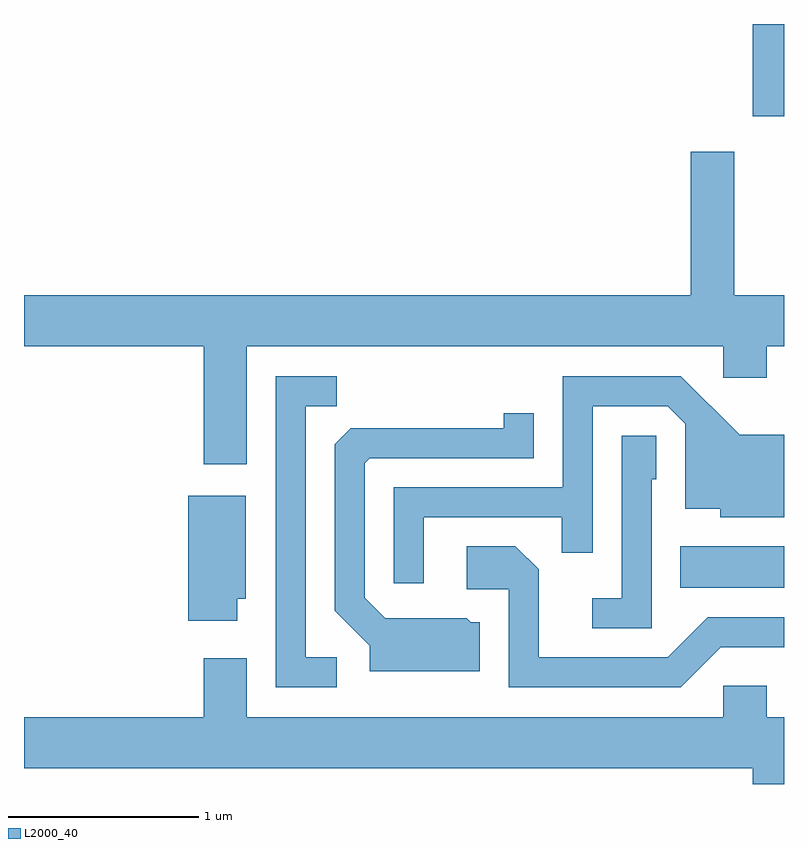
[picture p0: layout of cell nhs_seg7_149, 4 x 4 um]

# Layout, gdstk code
import gdstk
lib = gdstk.Library(unit=1e-6, precision=1e-09)
def R(c, l, rs):  # rectangles x0, y0, x1, y1
    for r in rs: c.add(gdstk.rectangle(r[:2], r[2:], *l))
def P(c, l, *ps):  # polygons
    for p in ps: c.add(gdstk.Polygon(p, *l))
L2000_40 = (2000, 40)

nhs_seg7_149 = lib.new_cell('nhs_seg7_149')
R(nhs_seg7_149, L2000_40, [(193.066,1695.286,193.611,1695.504), (193.446,1697.766,193.611,1698.252)])
P(nhs_seg7_149, L2000_40, [(190.784,1696.556),(193.291,1696.556),(193.291,1696.391),(193.519,1696.391),(193.519,1696.556),(193.611,1696.556),(193.611,1696.824),(193.349,1696.824),(193.349,1697.579),(193.121,1697.579),(193.121,1696.824),(189.611,1696.824),(189.611,1696.556),(190.556,1696.556),(190.556,1695.936),(190.784,1695.936)],
  [(191.258,1694.919),(191.094,1694.919),(191.094,1696.241),(191.258,1696.241),(191.258,1696.399),(190.936,1696.399),(190.936,1694.761),(191.258,1694.761)],
  [(191.714,1695.656),(192.441,1695.656),(192.441,1695.468),(192.604,1695.468),(192.604,1696.241),(192.999,1696.241),(193.091,1696.149),(193.091,1695.701),(193.276,1695.701),(193.276,1695.656),(193.611,1695.656),(193.611,1696.089),(193.377,1696.089),(193.067,1696.399),(192.446,1696.399),(192.446,1695.814),(191.556,1695.814),(191.556,1695.308),(191.714,1695.308)],
  [(192.009,1695.104),(191.962,1695.104),(191.942,1695.124),(191.512,1695.124),(191.404,1695.232),(191.404,1695.939),(191.432,1695.966),(192.294,1695.966),(192.294,1696.203),(192.136,1696.203),(192.136,1696.124),(191.332,1696.124),(191.246,1696.039),(191.246,1695.164),(191.431,1694.979),(191.431,1694.846),(192.009,1694.846)],
  [(192.914,1695.856),(192.939,1695.856),(192.939,1696.084),(192.756,1696.084),(192.756,1695.229),(192.603,1695.229),(192.603,1695.071),(192.914,1695.071)],
  [(190.734,1695.226),(190.779,1695.226),(190.779,1695.769),(190.476,1695.769),(190.476,1695.111),(190.734,1695.111)],
  [(193.277,1694.971),(193.611,1694.971),(193.611,1695.129),(193.209,1695.129),(192.999,1694.919),(192.319,1694.919),(192.319,1695.382),(192.197,1695.504),(191.941,1695.504),(191.941,1695.276),(192.161,1695.276),(192.161,1694.761),(193.067,1694.761)],
  [(193.611,1694.604),(193.519,1694.604),(193.519,1694.769),(193.291,1694.769),(193.291,1694.604),(190.784,1694.604),(190.784,1694.914),(190.556,1694.914),(190.556,1694.604),(189.611,1694.604),(189.611,1694.336),(193.446,1694.336),(193.446,1694.252),(193.611,1694.252)])

lib.write_gds('nhs_seg7_149.gds')
